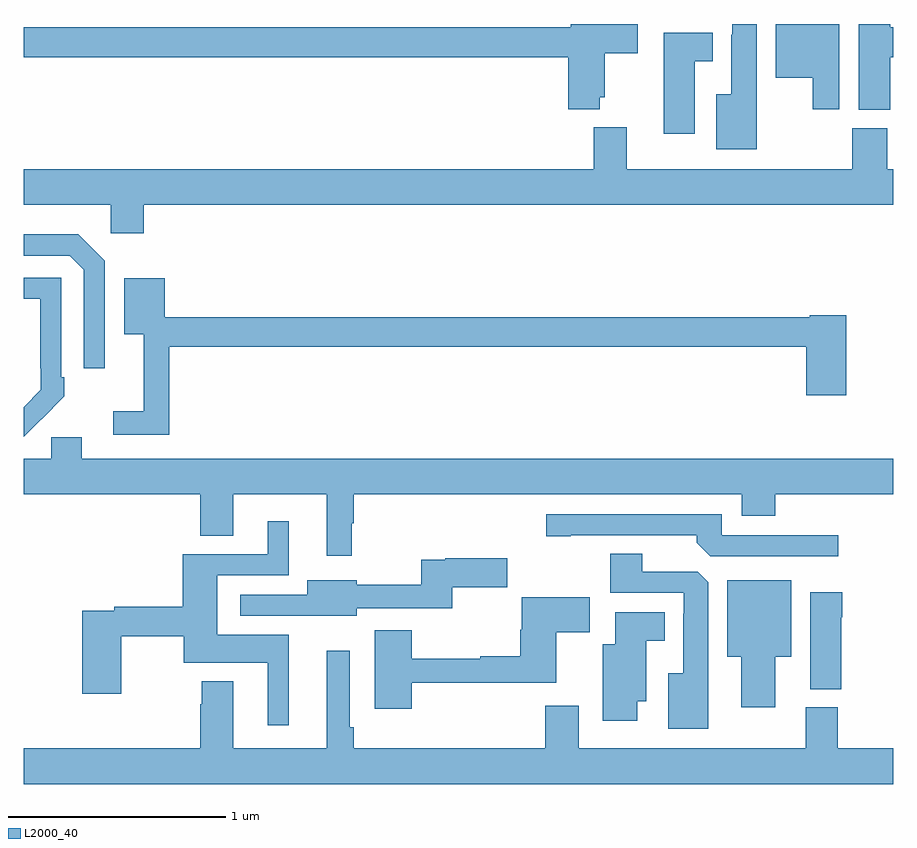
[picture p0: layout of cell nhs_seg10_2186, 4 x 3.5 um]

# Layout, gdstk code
import gdstk
lib = gdstk.Library(unit=1e-6, precision=1e-09)
def P(c, l, *ps):  # polygons
    for p in ps: c.add(gdstk.Polygon(p, *l))
L2000_40 = (2000, 40)

nhs_seg10_2186 = lib.new_cell('nhs_seg10_2186')
P(nhs_seg10_2186, L2000_40, [(229.65,1282.163),(229.672,1282.163),(229.672,1282.366),(229.825,1282.366),(229.825,1282.5),(229.517,1282.5),(229.517,1282.484),(227,1282.484),(227,1282.348),(229.505,1282.348),(229.505,1282.109),(229.65,1282.109)],
  [(230.752,1282.5),(230.459,1282.5),(230.459,1282.253),(230.63,1282.253),(230.63,1282.107),(230.752,1282.107)],
  [(230.987,1282.348),(231,1282.348),(231,1282.484),(230.987,1282.484),(230.987,1282.5),(230.84,1282.5),(230.84,1282.105),(230.987,1282.105)],
  [(230.371,1282.5),(230.259,1282.5),(230.259,1282.451),(230.255,1282.451),(230.255,1282.177),(230.186,1282.177),(230.186,1281.923),(230.371,1281.923)],
  [(230.086,1282.328),(230.17,1282.328),(230.17,1282.459),(229.943,1282.459),(229.943,1281.996),(230.086,1281.996)],
  [(227.552,1281.668),(231,1281.668),(231,1281.832),(230.972,1281.832),(230.972,1282.02),(230.812,1282.02),(230.812,1281.832),(229.774,1281.832),(229.774,1282.024),(229.622,1282.024),(229.622,1281.832),(227,1281.832),(227,1281.668),(227.4,1281.668),(227.4,1281.537),(227.552,1281.537)],
  [(227.373,1281.411),(227.252,1281.532),(227,1281.532),(227,1281.435),(227.211,1281.435),(227.277,1281.369),(227.277,1280.916),(227.373,1280.916)],
  [(227.081,1280.683),(227.082,1280.682),(227.187,1280.787),(227.187,1280.875),(227.172,1280.875),(227.172,1281.333),(227,1281.333),(227,1281.237),(227.076,1281.237),(227.076,1280.917),(227.079,1280.917),(227.079,1280.817),(227,1280.738),(227,1280.602)],
  [(227.669,1281.016),(230.6,1281.016),(230.6,1280.793),(230.783,1280.793),(230.783,1281.16),(230.616,1281.16),(230.616,1281.152),(227.649,1281.152),(227.649,1281.331),(227.462,1281.331),(227.462,1281.074),(227.552,1281.074),(227.552,1280.719),(227.412,1280.719),(227.412,1280.61),(227.669,1280.61)],
  [(228.509,1280.204),(228.517,1280.204),(228.517,1280.336),(230.303,1280.336),(230.303,1280.237),(230.456,1280.237),(230.456,1280.336),(231,1280.336),(231,1280.5),(227.266,1280.5),(227.266,1280.598),(227.127,1280.598),(227.127,1280.5),(227,1280.5),(227,1280.336),(227.813,1280.336),(227.813,1280.146),(227.965,1280.146),(227.965,1280.336),(228.395,1280.336),(228.395,1280.055),(228.509,1280.055)],
  [(230.746,1280.148),(230.211,1280.148),(230.211,1280.244),(229.404,1280.244),(229.404,1280.143),(229.516,1280.143),(229.516,1280.148),(230.096,1280.148),(230.096,1280.114),(230.157,1280.052),(230.746,1280.052)],
  [(228.22,1279.69),(227.89,1279.69),(227.89,1279.965),(228.22,1279.965),(228.22,1280.212),(228.122,1280.212),(228.122,1280.061),(227.732,1280.061),(227.732,1279.82),(227.416,1279.82),(227.416,1279.8),(227.27,1279.8),(227.27,1279.419),(227.448,1279.419),(227.448,1279.684),(227.737,1279.684),(227.737,1279.562),(228.122,1279.562),(228.122,1279.275),(228.22,1279.275)],
  [(230.149,1279.931),(230.1,1279.98),(229.846,1279.98),(229.846,1280.063),(229.699,1280.063),(229.699,1279.884),(230.037,1279.884),(230.037,1279.787),(230.033,1279.787),(230.033,1279.513),(229.964,1279.513),(229.964,1279.259),(230.149,1279.259)],
  [(228.532,1279.812),(228.972,1279.812),(228.972,1279.909),(229.225,1279.909),(229.225,1280.043),(228.94,1280.043),(228.94,1280.035),(228.829,1280.035),(228.829,1279.921),(228.532,1279.921),(228.532,1279.942),(228.305,1279.942),(228.305,1279.875),(227.997,1279.875),(227.997,1279.779),(228.309,1279.779),(228.309,1279.778),(228.532,1279.778)],
  [(230.458,1279.589),(230.53,1279.589),(230.53,1279.942),(230.237,1279.942),(230.237,1279.589),(230.3,1279.589),(230.3,1279.356),(230.458,1279.356)],
  [(230.76,1279.772),(230.765,1279.772),(230.765,1279.885),(230.618,1279.885),(230.618,1279.441),(230.76,1279.441)],
  [(228.785,1279.47),(229.45,1279.47),(229.45,1279.702),(229.603,1279.702),(229.603,1279.864),(229.446,1279.864),(229.446,1279.862),(229.29,1279.862),(229.29,1279.713),(229.283,1279.713),(229.283,1279.591),(229.099,1279.591),(229.099,1279.581),(228.785,1279.581),(228.785,1279.711),(228.614,1279.711),(228.614,1279.35),(228.785,1279.35)],
  [(229.822,1279.385),(229.864,1279.385),(229.864,1279.664),(229.948,1279.664),(229.948,1279.795),(229.721,1279.795),(229.721,1279.648),(229.664,1279.648),(229.664,1279.296),(229.822,1279.296)],
  [(231,1279.168),(230.745,1279.168),(230.745,1279.356),(230.597,1279.356),(230.597,1279.168),(229.552,1279.168),(229.552,1279.363),(229.4,1279.363),(229.4,1279.168),(228.517,1279.168),(228.517,1279.264),(228.499,1279.264),(228.499,1279.618),(228.395,1279.618),(228.395,1279.168),(227.965,1279.168),(227.965,1279.477),(227.818,1279.477),(227.818,1279.37),(227.813,1279.37),(227.813,1279.168),(227,1279.168),(227,1279.004),(231,1279.004)])

lib.write_gds('nhs_seg10_2186.gds')
